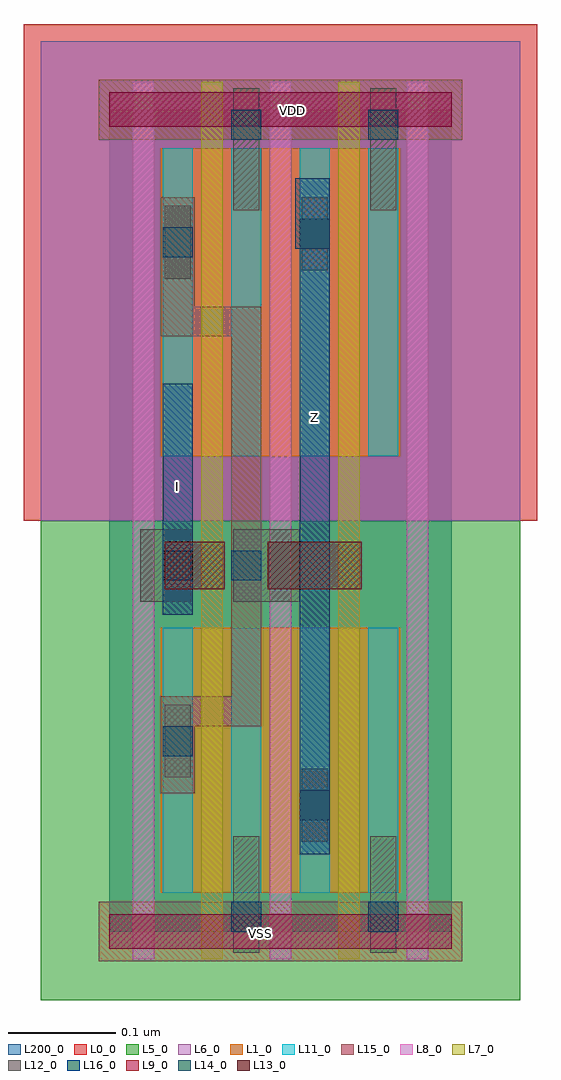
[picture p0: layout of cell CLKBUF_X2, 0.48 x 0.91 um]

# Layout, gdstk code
import gdstk
lib = gdstk.Library(unit=1e-6, precision=1e-09)
def R(c, l, rs):  # rectangles x0, y0, x1, y1
    for r in rs: c.add(gdstk.rectangle(r[:2], r[2:], *l))
def A(c, l, x, y, w, h, nx, ny, dx, dy):  # array of equal rectangles
    R(c, l, [(x+i*dx, y+j*dy, x+i*dx+w, y+j*dy+h) for i in range(nx) for j in range(ny)])
def P(c, l, *ps):  # polygons
    for p in ps: c.add(gdstk.Polygon(p, *l))
L0_0 = (0, 0)
L1_0 = (1, 0)
L5_0 = (5, 0)
L6_0 = (6, 0)
L7_0 = (7, 0)
L8_0 = (8, 0)
L9_0 = (9, 0)
L11_0 = (11, 0)
L12_0 = (12, 0)
L13_0 = (13, 0)
L14_0 = (14, 0)
L15_0 = (15, 0)
L16_0 = (16, 0)
L200_0 = (200, 0)

clkbuf_x2 = lib.new_cell('CLKBUF_X2')
R(clkbuf_x2, L0_0, [(-0.08,0.384,0.4,0.848)])
R(clkbuf_x2, L1_0, [(0.048,0.036,0.272,0.284), (0.048,0.444,0.272,0.732)])
R(clkbuf_x2, L5_0, [(-0.064,-0.064,0.384,0.384)])
R(clkbuf_x2, L6_0, [(-0.064,0.384,0.384,0.832)])
R(clkbuf_x2, L7_0, [(0.086,-0.026,0.106,0.794), (0.214,-0.026,0.234,0.794)])
A(clkbuf_x2, L8_0, 0.022, -0.026, 0.02, 0.82, 3, 1, 0.128, 0)
R(clkbuf_x2, L9_0, [(0,-0.016,0.32,0.016), (0,0.752,0.32,0.784)])
A(clkbuf_x2, L11_0, 0.05, 0.036, 0.028, 0.248, 4, 1, 0.064, 0)
A(clkbuf_x2, L11_0, 0.05, 0.444, 0.028, 0.288, 4, 1, 0.064, 0)
R(clkbuf_x2, L12_0, [(0.116,-0.02,0.14,0.089), (0.244,-0.02,0.268,0.089), (0.18,0.084,0.204,0.152), (0.052,0.144,0.076,0.212), (0.029,0.308,0.076,0.376), (0.116,0.308,0.178,0.376), (0.052,0.61,0.076,0.678), (0.18,0.618,0.204,0.686), (0.116,0.674,0.14,0.788), (0.244,0.674,0.268,0.788)])
R(clkbuf_x2, L13_0, [(0.052,0.32,0.108,0.364), (0.148,0.32,0.236,0.364)])
R(clkbuf_x2, L14_0, [(0.114,0,0.142,0.028), (0.242,0,0.27,0.028), (0.178,0.104,0.206,0.132), (0.05,0.164,0.078,0.192), (0.05,0.328,0.078,0.356), (0.114,0.328,0.142,0.356), (0.05,0.63,0.078,0.658), (0.178,0.638,0.206,0.666), (0.114,0.74,0.142,0.768), (0.242,0.74,0.27,0.768)])
R(clkbuf_x2, L15_0, [(-0.01,-0.028,0.33,0.028), (-0.01,0.74,0.33,0.796)])
P(clkbuf_x2, L15_0, [(0.048,0.556),(0.114,0.556),(0.114,0.22),(0.048,0.22),(0.048,0.129),(0.08,0.129),(0.08,0.192),(0.142,0.192),(0.142,0.584),(0.08,0.584),(0.08,0.686),(0.048,0.686)])
R(clkbuf_x2, L16_0, [(0.05,0.296,0.078,0.512)])
P(clkbuf_x2, L16_0, [(0.174,0.638),(0.178,0.638),(0.178,0.072),(0.206,0.072),(0.206,0.704),(0.174,0.704)])
R(clkbuf_x2, L200_0, [(0,0,0.32,0.768)])
clkbuf_x2.add(gdstk.Label('VSS', (0.141,-0.002), layer=15, texttype=20))
clkbuf_x2.add(gdstk.Label('VDD', (0.171,0.767), layer=15, texttype=20))
clkbuf_x2.add(gdstk.Label('I', (0.064,0.416), layer=16, texttype=20))
clkbuf_x2.add(gdstk.Label('Z', (0.192,0.48), layer=16, texttype=20))

lib.write_gds('CLKBUF_X2.gds')
